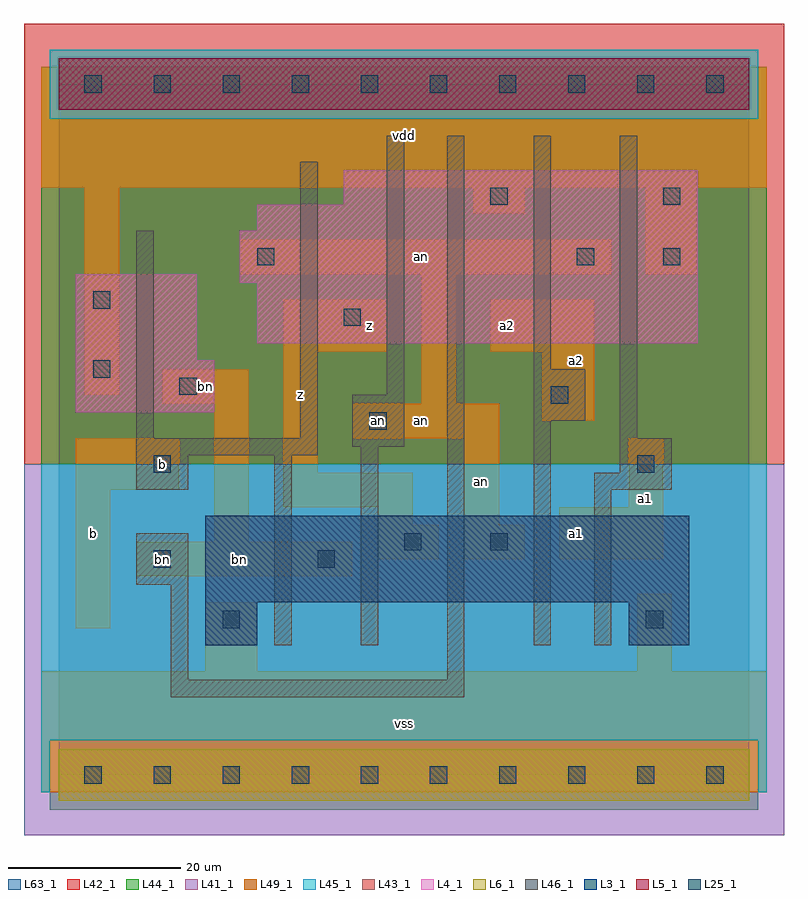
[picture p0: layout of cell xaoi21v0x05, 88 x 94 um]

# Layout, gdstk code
import gdstk
lib = gdstk.Library(unit=1e-6, precision=1e-09)
def R(c, l, rs):  # rectangles x0, y0, x1, y1
    for r in rs: c.add(gdstk.rectangle(r[:2], r[2:], *l))
def A(c, l, x, y, w, h, nx, ny, dx, dy):  # array of equal rectangles
    R(c, l, [(x+i*dx, y+j*dy, x+i*dx+w, y+j*dy+h) for i in range(nx) for j in range(ny)])
L3_1 = (3, 1)
L4_1 = (4, 1)
L5_1 = (5, 1)
L6_1 = (6, 1)
L25_1 = (25, 1)
L41_1 = (41, 1)
L42_1 = (42, 1)
L43_1 = (43, 1)
L44_1 = (44, 1)
L45_1 = (45, 1)
L46_1 = (46, 1)
L49_1 = (49, 1)
L63_1 = (63, 1)

xaoi21v0x05 = lib.new_cell('xaoi21v0x05')
R(xaoi21v0x05, L3_1, [(17,15,23,20), (66,15,73,20), (17,20,73,30)])
R(xaoi21v0x05, L4_1, [(2,42,18,48), (2,48,16,58), (23,50,74,57), (21,57,74,63), (23,63,74,66), (33,66,74,70)])
R(xaoi21v0x05, L5_1, [(0,77,80,83)])
R(xaoi21v0x05, L6_1, [(0,-3,80,3), (0,-3,80,3)])
A(xaoi21v0x05, L25_1, 3, -1, 2, 2, 10, 2, 8, 80)
R(xaoi21v0x05, L25_1, [(19,17,21,19), (68,17,70,19), (11,24,13,26), (30,24,32,26), (40,26,42,28), (50,26,52,28), (11,35,13,37), (67,35,69,37), (36,40,38,42), (57,43,59,45), (14,44,16,46), (4,46,6,48), (33,52,35,54), (4,54,6,56), (23,59,25,61), (60,59,62,61), (70,59,72,61), (50,66,52,68), (70,66,72,68)])
R(xaoi21v0x05, L41_1, [(-4,-7,84,36)])
R(xaoi21v0x05, L42_1, [(-4,36,84,87)])
R(xaoi21v0x05, L43_1, [(0,-3,80,3), (17,15,23,20), (66,15,73,20), (17,20,73,30), (2,42,18,48), (2,48,16,58), (23,50,74,57), (21,57,74,63), (23,63,74,66), (33,66,74,70), (0,77,80,83)])
R(xaoi21v0x05, L44_1, [(-1,-4,81,4), (-2,36,82,76), (-2,76,-1,82), (81,76,82,82)])
R(xaoi21v0x05, L45_1, [(-2,-2,-1,4), (81,-2,82,4), (-2,4,82,36), (-1,76,81,84)])
R(xaoi21v0x05, L46_1, [(13,9,47,11), (13,11,15,22), (45,11,47,74), (25,15,27,37), (35,15,37,38), (55,15,57,41), (62,15,64,33), (9,22,15,28), (9,33,15,37), (62,33,71,35), (65,35,71,39), (9,37,30,39), (34,38,40,44), (9,39,11,63), (28,39,30,71), (65,39,67,74), (55,41,61,47), (38,44,40,74), (55,47,57,74)])
R(xaoi21v0x05, L49_1, [(-2,-2,82,12), (17,12,23,20), (67,12,71,21), (2,17,6,33), (9,23,34,27), (37,25,44,29), (47,25,54,29), (58,25,70,31), (18,27,22,43), (37,29,41,31), (47,29,51,39), (26,31,41,35), (66,31,70,39), (2,33,14,39), (26,35,30,49), (34,39,51,43), (56,41,62,49), (12,43,22,47), (42,43,46,58), (3,44,7,68), (26,49,38,55), (50,49,62,55), (21,58,64,62), (68,58,74,68), (48,65,54,68), (-2,68,82,82)])
R(xaoi21v0x05, L63_1, [(0,0,80,80)])
xaoi21v0x05.add(gdstk.Label('bn', (12,25), layer=49, texttype=1))
xaoi21v0x05.add(gdstk.Label('an', (37,41), layer=49, texttype=1))
xaoi21v0x05.add(gdstk.Label('b', (4,28), layer=49, texttype=1))
xaoi21v0x05.add(gdstk.Label('b', (12,36), layer=49, texttype=1))
xaoi21v0x05.add(gdstk.Label('bn', (17,45), layer=49, texttype=1))
xaoi21v0x05.add(gdstk.Label('z', (28,44), layer=49, texttype=1))
xaoi21v0x05.add(gdstk.Label('vss', (40,6), layer=49, texttype=1))
xaoi21v0x05.add(gdstk.Label('bn', (21,25), layer=49, texttype=1))
xaoi21v0x05.add(gdstk.Label('z', (36,52), layer=49, texttype=1))
xaoi21v0x05.add(gdstk.Label('vdd', (40,74), layer=49, texttype=1))
xaoi21v0x05.add(gdstk.Label('a1', (60,28), layer=49, texttype=1))
xaoi21v0x05.add(gdstk.Label('an', (49,34), layer=49, texttype=1))
xaoi21v0x05.add(gdstk.Label('an', (42,41), layer=49, texttype=1))
xaoi21v0x05.add(gdstk.Label('a2', (60,48), layer=49, texttype=1))
xaoi21v0x05.add(gdstk.Label('a2', (52,52), layer=49, texttype=1))
xaoi21v0x05.add(gdstk.Label('an', (42,60), layer=49, texttype=1))
xaoi21v0x05.add(gdstk.Label('a1', (68,32), layer=49, texttype=1))

lib.write_gds('xaoi21v0x05.gds')
